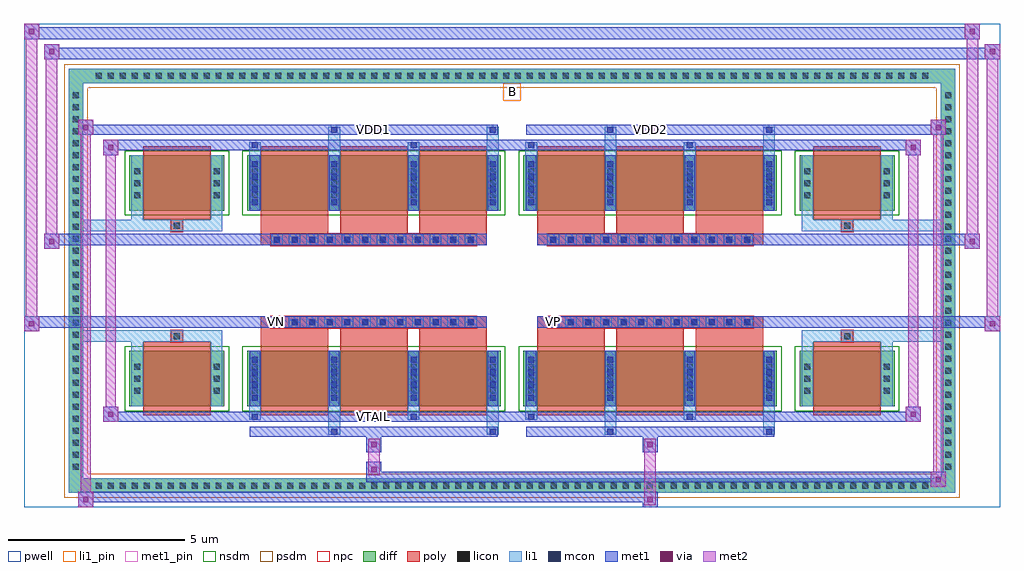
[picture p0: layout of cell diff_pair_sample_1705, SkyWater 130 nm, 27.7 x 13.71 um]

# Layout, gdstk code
import gdstk
lib = gdstk.Library(unit=1e-6, precision=5e-09)
def R(c, l, rs):  # rectangles x0, y0, x1, y1
    for r in rs: c.add(gdstk.rectangle(r[:2], r[2:], *l))
def A(c, l, x, y, w, h, nx, ny, dx, dy):  # array of equal rectangles
    R(c, l, [(x+i*dx, y+j*dy, x+i*dx+w, y+j*dy+h) for i in range(nx) for j in range(ny)])
def P(c, l, *ps):  # polygons
    for p in ps: c.add(gdstk.Polygon(p, *l))
pwell = (64, 44)
diff = (65, 20)
poly = (66, 20)
licon = (66, 44)
li1_pin = (67, 16)
li1 = (67, 20)
mcon = (67, 44)
met1_pin = (68, 16)
met1 = (68, 20)
via = (68, 44)
met2 = (69, 20)
nsdm = (93, 44)
psdm = (94, 20)
npc = (95, 20)

diff_pair_sample_1705 = lib.new_cell('diff_pair_sample_1705')
R(diff_pair_sample_1705, pwell, [(-13.85,-6.42,13.85,7.29), (-11.17,-4.61,-0.01,-0.805), (0.01,-4.61,11.17,-0.805), (-11.17,0.805,-0.01,4.61), (0.01,0.805,11.17,4.61)])
A(diff_pair_sample_1705, diff, -11.935, -6.02, 0.41, 0.41, 70, 2, 0.34, 11.63)
A(diff_pair_sample_1705, diff, -12.58, -5.475, 0.41, 0.41, 1, 32, 0, 0.34)
A(diff_pair_sample_1705, diff, 12.17, -5.475, 0.41, 0.41, 1, 32, 0, 0.34)
R(diff_pair_sample_1705, diff, [(-11.935,-6.02,11.935,-5.61), (-12.58,-5.475,-12.17,5.475), (12.17,-5.475,12.58,5.475), (-10.86,-3.565,-8.16,-1.985), (-7.52,-3.565,-0.32,-1.985), (0.32,-3.565,7.52,-1.985), (8.16,-3.565,10.86,-1.985), (-10.86,1.985,-8.16,3.565), (-7.52,1.985,-0.32,3.565), (0.32,1.985,7.52,3.565), (8.16,1.985,10.86,3.565), (-11.935,5.61,11.935,6.02)])
P(diff_pair_sample_1705, diff, [(12.58,6.02),(-12.58,6.02),(-12.58,-5.61),(-12.17,-5.61),(-12.17,5.61),(12.17,5.61),(12.17,-5.61),(-12.17,-5.61),(-12.58,-5.61),(-12.58,-6.02),(12.58,-6.02)])
A(diff_pair_sample_1705, poly, -7.13, -3.815, 1.92, 2.08, 3, 2, 2.25, 5.55)
A(diff_pair_sample_1705, poly, 0.71, -3.815, 1.92, 2.08, 3, 2, 2.25, 5.55)
A(diff_pair_sample_1705, poly, -7.13, -1.735, 1.92, 0.4, 3, 2, 2.25, 3.07)
A(diff_pair_sample_1705, poly, 0.71, -1.735, 1.92, 0.4, 3, 2, 2.25, 3.07)
A(diff_pair_sample_1705, poly, -6.835, -1.335, 0.33, 0.33, 12, 2, 0.5, 2.34)
A(diff_pair_sample_1705, poly, 1.005, -1.335, 0.33, 0.33, 12, 2, 0.5, 2.34)
R(diff_pair_sample_1705, poly, [(-10.47,-3.815,-8.55,-1.735), (8.55,-3.815,10.47,-1.735), (-9.675,-1.735,-9.345,-1.405), (-9.675,-1.735,-9.345,-1.405), (9.345,-1.735,9.675,-1.405), (9.345,-1.735,9.675,-1.405), (-7.13,-1.335,-0.71,-1.005), (0.71,-1.335,7.13,-1.005), (-7.13,1.005,-0.71,1.335), (0.71,1.005,7.13,1.335), (-9.675,1.405,-9.345,1.735), (-9.675,1.405,-9.345,1.735), (9.345,1.405,9.675,1.735), (9.345,1.405,9.675,1.735), (-10.47,1.735,-8.55,3.815), (8.55,1.735,10.47,3.815)])
A(diff_pair_sample_1705, licon, -11.815, -5.9, 0.17, 0.17, 70, 2, 0.34, 11.63)
A(diff_pair_sample_1705, licon, -12.46, -5.355, 0.17, 0.17, 1, 32, 0, 0.34)
A(diff_pair_sample_1705, licon, 12.29, -5.355, 0.17, 0.17, 1, 32, 0, 0.34)
A(diff_pair_sample_1705, licon, -10.72, -3.2, 0.17, 0.17, 1, 3, 0, 0.34)
A(diff_pair_sample_1705, licon, -8.47, -3.2, 0.17, 0.17, 1, 3, 0, 0.34)
A(diff_pair_sample_1705, licon, -7.38, -3.2, 0.17, 0.17, 4, 3, 2.25, 0.34)
A(diff_pair_sample_1705, licon, 0.46, -3.2, 0.17, 0.17, 4, 3, 2.25, 0.34)
A(diff_pair_sample_1705, licon, 8.3, -3.2, 0.17, 0.17, 1, 3, 0, 0.34)
A(diff_pair_sample_1705, licon, 10.55, -3.2, 0.17, 0.17, 1, 3, 0, 0.34)
A(diff_pair_sample_1705, licon, -6.755, -1.255, 0.17, 0.17, 12, 2, 0.5, 2.34)
A(diff_pair_sample_1705, licon, 1.085, -1.255, 0.17, 0.17, 12, 2, 0.5, 2.34)
A(diff_pair_sample_1705, licon, -10.72, 2.35, 0.17, 0.17, 1, 3, 0, 0.34)
A(diff_pair_sample_1705, licon, -8.47, 2.35, 0.17, 0.17, 1, 3, 0, 0.34)
A(diff_pair_sample_1705, licon, -7.38, 2.35, 0.17, 0.17, 4, 3, 2.25, 0.34)
A(diff_pair_sample_1705, licon, 0.46, 2.35, 0.17, 0.17, 4, 3, 2.25, 0.34)
A(diff_pair_sample_1705, licon, 8.3, 2.35, 0.17, 0.17, 1, 3, 0, 0.34)
A(diff_pair_sample_1705, licon, 10.55, 2.35, 0.17, 0.17, 1, 3, 0, 0.34)
R(diff_pair_sample_1705, licon, [(-9.595,-1.655,-9.425,-1.485), (9.425,-1.655,9.595,-1.485), (-9.595,1.485,-9.425,1.655), (9.425,1.485,9.595,1.655)])
R(diff_pair_sample_1705, li1_pin, [(-0.25,5.11,0.25,5.61)])
A(diff_pair_sample_1705, li1, -11.895, -5.98, 0.33, 0.33, 70, 2, 0.34, 11.63)
A(diff_pair_sample_1705, li1, -12.54, -5.435, 0.33, 0.33, 1, 32, 0, 0.34)
A(diff_pair_sample_1705, li1, 12.21, -5.435, 0.33, 0.33, 1, 32, 0, 0.34)
A(diff_pair_sample_1705, li1, -7.46, -3.565, 0.33, 1.58, 4, 2, 2.25, 5.55)
A(diff_pair_sample_1705, li1, 0.38, -3.565, 0.33, 1.58, 4, 2, 2.25, 5.55)
A(diff_pair_sample_1705, li1, -7.38, -3.4, 0.17, 0.17, 4, 4, 2.25, 0.36)
A(diff_pair_sample_1705, li1, -7.38, -3.4, 0.17, 1.25, 4, 2, 2.25, 5.55)
A(diff_pair_sample_1705, li1, 0.46, -3.4, 0.17, 0.17, 4, 4, 2.25, 0.36)
A(diff_pair_sample_1705, li1, 0.46, -3.4, 0.17, 1.25, 4, 2, 2.25, 5.55)
A(diff_pair_sample_1705, li1, -10.8, -3.28, 0.33, 0.33, 1, 3, 0, 0.34)
A(diff_pair_sample_1705, li1, -8.55, -3.28, 0.33, 0.33, 1, 3, 0, 0.34)
A(diff_pair_sample_1705, li1, -7.46, -3.28, 0.33, 0.33, 4, 3, 2.25, 0.34)
A(diff_pair_sample_1705, li1, 0.38, -3.28, 0.33, 0.33, 4, 3, 2.25, 0.34)
A(diff_pair_sample_1705, li1, 8.22, -3.28, 0.33, 0.33, 1, 3, 0, 0.34)
A(diff_pair_sample_1705, li1, 10.47, -3.28, 0.33, 0.33, 1, 3, 0, 0.34)
A(diff_pair_sample_1705, li1, -6.835, -1.335, 0.33, 0.33, 12, 2, 0.5, 2.34)
A(diff_pair_sample_1705, li1, 1.005, -1.335, 0.33, 0.33, 12, 2, 0.5, 2.34)
A(diff_pair_sample_1705, li1, -7.38, 2.15, 0.17, 0.17, 4, 4, 2.25, 0.36)
A(diff_pair_sample_1705, li1, 0.46, 2.15, 0.17, 0.17, 4, 4, 2.25, 0.36)
A(diff_pair_sample_1705, li1, -10.8, 2.27, 0.33, 0.33, 1, 3, 0, 0.34)
A(diff_pair_sample_1705, li1, -8.55, 2.27, 0.33, 0.33, 1, 3, 0, 0.34)
A(diff_pair_sample_1705, li1, -7.46, 2.27, 0.33, 0.33, 4, 3, 2.25, 0.34)
A(diff_pair_sample_1705, li1, 0.38, 2.27, 0.33, 0.33, 4, 3, 2.25, 0.34)
A(diff_pair_sample_1705, li1, 8.22, 2.27, 0.33, 0.33, 1, 3, 0, 0.34)
A(diff_pair_sample_1705, li1, 10.47, 2.27, 0.33, 0.33, 1, 3, 0, 0.34)
R(diff_pair_sample_1705, li1, [(-12.58,-6.02,-12.17,-5.61), (-12.58,-6.02,-12.17,-5.61), (-12.17,-6.02,12.17,-5.61), (12.17,-6.02,12.58,-5.61), (12.17,-6.02,12.58,-5.61), (-12.58,-5.61,-12.17,5.61), (12.17,-5.61,12.58,5.61), (-5.21,-4.37,-4.88,-3.565), (-5.13,-4.37,-4.96,-4.2), (-0.71,-4.37,-0.38,-3.565), (-0.63,-4.37,-0.46,-4.2), (2.63,-4.37,2.96,-3.565), (2.71,-4.37,2.88,-4.2), (7.13,-4.37,7.46,-3.565), (7.21,-4.37,7.38,-4.2), (-7.46,-3.94,-7.13,-3.565), (-7.38,-3.94,-7.21,-3.77), (-2.96,-3.94,-2.63,-3.565), (-2.88,-3.94,-2.71,-3.77), (0.38,-3.94,0.71,-3.565), (0.46,-3.94,0.63,-3.77), (4.88,-3.94,5.21,-3.565), (4.96,-3.94,5.13,-3.77), (-10.8,-3.565,-10.47,-1.985), (-8.55,-3.565,-8.22,-1.985), (8.22,-3.565,8.55,-1.985), (10.47,-3.565,10.8,-1.985), (-10.8,-1.985,-10.47,-1.405), (-8.55,-1.985,-8.22,-1.405), (8.22,-1.985,8.55,-1.405), (10.47,-1.985,10.8,-1.405), (-12.58,-1.735,-9.675,-1.405), (-10.8,-1.735,-9.675,-1.405), (-9.675,-1.735,-9.345,-1.405), (-9.345,-1.735,-8.22,-1.405), (8.22,-1.735,9.345,-1.405), (9.345,-1.735,9.675,-1.405), (9.345,-1.735,12.58,-1.405), (9.675,-1.735,10.8,-1.405), (-12.58,1.405,-9.675,1.735), (-10.8,1.405,-9.675,1.735), (-10.8,1.405,-10.47,1.985), (-9.675,1.405,-9.345,1.735), (-9.345,1.405,-8.22,1.735), (-8.55,1.405,-8.22,1.985), (8.22,1.405,9.345,1.735), (8.22,1.405,8.55,1.985), (9.345,1.405,9.675,1.735), (9.345,1.405,12.58,1.735), (9.675,1.405,10.8,1.735), (10.47,1.405,10.8,1.985), (-10.8,1.985,-10.47,3.565), (-8.55,1.985,-8.22,3.565), (8.22,1.985,8.55,3.565), (10.47,1.985,10.8,3.565), (-7.46,3.565,-7.13,3.94), (-5.21,3.565,-4.88,4.37), (-2.96,3.565,-2.63,3.94), (-0.71,3.565,-0.38,4.37), (0.38,3.565,0.71,3.94), (2.63,3.565,2.96,4.37), (4.88,3.565,5.21,3.94), (7.13,3.565,7.46,4.37), (-7.38,3.77,-7.21,3.94), (-2.88,3.77,-2.71,3.94), (0.46,3.77,0.63,3.94), (4.96,3.77,5.13,3.94), (-5.13,4.2,-4.96,4.37), (-0.63,4.2,-0.46,4.37), (2.71,4.2,2.88,4.37), (7.21,4.2,7.38,4.37), (-12.58,5.61,-12.17,6.02), (-12.58,5.61,-12.17,6.02), (-12.17,5.61,12.17,6.02), (12.17,5.61,12.58,6.02), (12.17,5.61,12.58,6.02)])
A(diff_pair_sample_1705, mcon, -7.38, -3.4, 0.17, 0.17, 4, 4, 2.25, 0.36)
A(diff_pair_sample_1705, mcon, 0.46, -3.4, 0.17, 0.17, 4, 4, 2.25, 0.36)
A(diff_pair_sample_1705, mcon, -6.755, -1.255, 0.17, 0.17, 12, 2, 0.5, 2.34)
A(diff_pair_sample_1705, mcon, 1.085, -1.255, 0.17, 0.17, 12, 2, 0.5, 2.34)
A(diff_pair_sample_1705, mcon, -7.38, 2.15, 0.17, 0.17, 4, 4, 2.25, 0.36)
A(diff_pair_sample_1705, mcon, 0.46, 2.15, 0.17, 0.17, 4, 4, 2.25, 0.36)
R(diff_pair_sample_1705, mcon, [(-5.13,-4.37,-4.96,-4.2), (-0.63,-4.37,-0.46,-4.2), (2.71,-4.37,2.88,-4.2), (7.21,-4.37,7.38,-4.2), (-7.38,-3.94,-7.21,-3.77), (-2.88,-3.94,-2.71,-3.77), (0.46,-3.94,0.63,-3.77), (4.96,-3.94,5.13,-3.77), (-7.38,3.77,-7.21,3.94), (-2.88,3.77,-2.71,3.94), (0.46,3.77,0.63,3.94), (4.96,3.77,5.13,3.94), (-5.13,4.2,-4.96,4.37), (-0.63,4.2,-0.46,4.37), (2.71,4.2,2.88,4.37), (7.21,4.2,7.38,4.37)])
R(diff_pair_sample_1705, met1_pin, [(-4.055,-3.98,-3.785,-3.71), (-6.805,-1.295,-6.535,-1.025), (1.035,-1.295,1.305,-1.025), (-4.055,4.16,-3.785,4.43), (3.785,4.16,4.055,4.43)])
A(diff_pair_sample_1705, met1, -7.44, -3.565, 0.29, 1.58, 4, 2, 2.25, 5.55)
A(diff_pair_sample_1705, met1, 0.4, -3.565, 0.29, 1.58, 4, 2, 2.25, 5.55)
A(diff_pair_sample_1705, met1, -7.44, -3.46, 0.29, 0.29, 4, 4, 2.25, 0.36)
A(diff_pair_sample_1705, met1, 0.4, -3.46, 0.29, 0.29, 4, 4, 2.25, 0.36)
A(diff_pair_sample_1705, met1, -6.815, -1.315, 0.29, 0.29, 12, 2, 0.5, 2.34)
A(diff_pair_sample_1705, met1, 1.025, -1.315, 0.29, 0.29, 12, 2, 0.5, 2.34)
A(diff_pair_sample_1705, met1, -7.44, 2.09, 0.29, 0.29, 4, 4, 2.25, 0.36)
A(diff_pair_sample_1705, met1, 0.4, 2.09, 0.29, 0.29, 4, 4, 2.25, 0.36)
R(diff_pair_sample_1705, met1, [(-12.31,-6.42,-11.88,-5.99), (3.705,-6.42,4.135,-5.99), (-12.31,-6.28,4.135,-5.99), (11.88,-5.85,12.31,-5.42), (-4.135,-5.71,12.31,-5.42), (-4.135,-5.57,-3.705,-5.14), (-4.135,-4.86,-3.705,-4.43), (3.705,-4.86,4.135,-4.43), (-7.44,-4.43,-0.4,-4.14), (-5.19,-4.43,-4.9,-4.14), (-0.69,-4.43,-0.4,-4.14), (0.4,-4.43,7.44,-4.14), (2.65,-4.43,2.94,-4.14), (7.15,-4.43,7.44,-4.14), (-11.6,-4,-11.17,-3.57), (-11.6,-4,-7.44,-3.71), (-7.44,-4,-7.15,-3.71), (-7.44,-4,-0.4,-3.71), (-2.94,-4,-2.65,-3.71), (-0.4,-4,0.4,-3.71), (0.4,-4,0.69,-3.71), (0.4,-4,7.44,-3.71), (4.9,-4,5.19,-3.71), (7.44,-4,11.6,-3.71), (11.17,-4,11.6,-3.57), (-13.85,-1.435,-13.42,-1.005), (13.42,-1.435,13.85,-1.005), (-13.85,-1.335,-0.71,-1.005), (-7.13,-1.335,-0.71,-1.005), (0.71,-1.335,7.13,-1.005), (0.71,-1.335,13.85,-1.005), (-13.28,0.905,-12.85,1.335), (12.85,0.905,13.28,1.335), (-13.28,1.005,-7.13,1.335), (-7.13,1.005,-0.71,1.335), (0.71,1.005,7.13,1.335), (7.13,1.005,13.28,1.335), (-11.6,3.57,-11.17,4), (11.17,3.57,11.6,4), (-11.6,3.71,-7.44,4), (-7.44,3.71,-7.15,4), (-7.44,3.71,-0.4,4), (-2.94,3.71,-2.65,4), (-0.4,3.71,0.4,4), (0.4,3.71,0.69,4), (0.4,3.71,7.44,4), (4.9,3.71,5.19,4), (7.44,3.71,11.6,4), (-12.31,4.14,-11.88,4.57), (-12.31,4.14,-7.44,4.43), (-7.44,4.14,-0.4,4.43), (-5.19,4.14,-4.9,4.43), (-0.69,4.14,-0.4,4.43), (0.4,4.14,7.44,4.43), (2.65,4.14,2.94,4.43), (7.15,4.14,7.44,4.43), (7.44,4.14,12.31,4.43), (11.88,4.14,12.31,4.57), (-13.28,6.29,-12.85,6.72), (-13.28,6.29,-11.17,6.62), (-11.17,6.29,11.17,6.62), (11.17,6.29,13.85,6.62), (13.42,6.29,13.85,6.72), (-13.85,6.86,-13.42,7.29), (-13.85,6.86,-11.17,7.19), (-11.17,6.86,11.17,7.19), (11.17,6.86,13.28,7.19), (12.85,6.86,13.28,7.29)])
R(diff_pair_sample_1705, via, [(-12.17,-6.28,-12.02,-6.13), (3.845,-6.28,3.995,-6.13), (12.02,-5.71,12.17,-5.56), (-3.995,-5.43,-3.845,-5.28), (-3.995,-4.72,-3.845,-4.57), (3.845,-4.72,3.995,-4.57), (-11.46,-3.86,-11.31,-3.71), (11.31,-3.86,11.46,-3.71), (-13.71,-1.295,-13.56,-1.145), (13.56,-1.295,13.71,-1.145), (-13.14,1.045,-12.99,1.195), (12.99,1.045,13.14,1.195), (-11.46,3.71,-11.31,3.86), (11.31,3.71,11.46,3.86), (-12.17,4.28,-12.02,4.43), (12.02,4.28,12.17,4.43), (-13.14,6.43,-12.99,6.58), (13.56,6.43,13.71,6.58), (-13.71,7,-13.56,7.15), (12.99,7,13.14,7.15)])
R(diff_pair_sample_1705, met2, [(-12.31,-6.42,-11.88,-5.99), (-12.24,-6.42,-11.95,4.57), (-11.95,-6.42,-11.88,-5.99), (-12.26,-6.37,-11.93,-6.04), (3.755,-6.37,4.085,-6.04), (3.755,-6.04,4.085,-4.81), (11.88,-5.85,12.31,-5.42), (11.95,-5.85,12.24,4.57), (12.24,-5.85,12.31,-5.42), (11.93,-5.8,12.26,-5.47), (-4.085,-5.52,-3.755,-5.19), (-4.085,-5.19,-3.755,-4.81), (-4.085,-4.81,-3.755,-4.48), (3.755,-4.81,4.085,-4.48), (-11.6,-4,-11.17,-3.57), (-11.53,-4,-11.24,4), (-11.24,-4,-11.17,-3.57), (11.17,-4,11.6,-3.57), (11.24,-4,11.53,4), (11.53,-4,11.6,-3.57), (-11.55,-3.95,-11.22,-3.62), (11.22,-3.95,11.55,-3.62), (-13.85,-1.435,-13.42,-1.005), (-13.8,-1.435,-13.47,7.29), (-13.47,-1.435,-13.42,-1.005), (13.42,-1.435,13.85,-1.005), (13.47,-1.435,13.8,6.72), (13.8,-1.435,13.85,-1.005), (-13.8,-1.385,-13.47,-1.055), (13.47,-1.385,13.8,-1.055), (-13.28,0.905,-12.85,1.335), (-13.23,0.905,-12.9,6.72), (-12.9,0.905,-12.85,1.335), (12.85,0.905,13.28,1.335), (12.9,0.905,13.23,7.29), (13.23,0.905,13.28,1.335), (-13.23,0.955,-12.9,1.285), (12.9,0.955,13.23,1.285), (-11.6,3.57,-11.17,4), (-11.24,3.57,-11.17,4), (11.17,3.57,11.6,4), (11.53,3.57,11.6,4), (-11.55,3.62,-11.22,3.95), (11.22,3.62,11.55,3.95), (-12.31,4.14,-11.88,4.57), (-11.95,4.14,-11.88,4.57), (11.88,4.14,12.31,4.57), (12.24,4.14,12.31,4.57), (-12.26,4.19,-11.93,4.52), (11.93,4.19,12.26,4.52), (-13.28,6.29,-12.85,6.72), (-12.9,6.29,-12.85,6.72), (13.42,6.29,13.85,6.72), (13.8,6.29,13.85,6.72), (-13.23,6.34,-12.9,6.67), (13.47,6.34,13.8,6.67), (-13.85,6.86,-13.42,7.29), (-13.47,6.86,-13.42,7.29), (12.85,6.86,13.28,7.29), (13.23,6.86,13.28,7.29), (-13.8,6.91,-13.47,7.24), (12.9,6.91,13.23,7.24)])
R(diff_pair_sample_1705, nsdm, [(-10.99,-3.695,-8.03,-1.855), (-7.65,-3.695,-0.19,-1.855), (0.19,-3.695,7.65,-1.855), (8.03,-3.695,10.99,-1.855), (-10.99,1.855,-8.03,3.695), (-7.65,1.855,-0.19,3.695), (0.19,1.855,7.65,3.695), (8.03,1.855,10.99,3.695)])
P(diff_pair_sample_1705, psdm, [(12.71,6.15),(-12.71,6.15),(-12.71,-5.48),(-12.04,-5.48),(-12.04,5.48),(12.04,5.48),(12.04,-5.48),(-12.04,-5.48),(-12.71,-5.48),(-12.71,-6.15),(12.71,-6.15)])
A(diff_pair_sample_1705, npc, -6.855, -1.355, 0.37, 0.37, 12, 2, 0.5, 2.34)
A(diff_pair_sample_1705, npc, 0.985, -1.355, 0.37, 0.37, 12, 2, 0.5, 2.34)
R(diff_pair_sample_1705, npc, [(-9.695,-1.755,-9.325,-1.385), (9.325,-1.755,9.695,-1.385), (-6.855,-1.355,-5.985,-0.985), (-6.855,-1.355,-5.985,-0.985), (-6.355,-1.355,-5.485,-0.985), (-6.355,-1.355,-5.485,-0.985), (-5.855,-1.355,-4.985,-0.985), (-5.855,-1.355,-4.985,-0.985), (-5.355,-1.355,-4.485,-0.985), (-5.355,-1.355,-4.485,-0.985), (-4.855,-1.355,-3.985,-0.985), (-4.855,-1.355,-3.985,-0.985), (-4.355,-1.355,-3.485,-0.985), (-4.355,-1.355,-3.485,-0.985), (-3.855,-1.355,-2.985,-0.985), (-3.855,-1.355,-2.985,-0.985), (-3.355,-1.355,-2.485,-0.985), (-3.355,-1.355,-2.485,-0.985), (-2.855,-1.355,-1.985,-0.985), (-2.855,-1.355,-1.985,-0.985), (-2.355,-1.355,-1.485,-0.985), (-2.355,-1.355,-1.485,-0.985), (-1.855,-1.355,-0.985,-0.985), (-1.855,-1.355,-0.985,-0.985), (0.985,-1.355,1.855,-0.985), (0.985,-1.355,1.855,-0.985), (1.485,-1.355,2.355,-0.985), (1.485,-1.355,2.355,-0.985), (1.985,-1.355,2.855,-0.985), (1.985,-1.355,2.855,-0.985), (2.485,-1.355,3.355,-0.985), (2.485,-1.355,3.355,-0.985), (2.985,-1.355,3.855,-0.985), (2.985,-1.355,3.855,-0.985), (3.485,-1.355,4.355,-0.985), (3.485,-1.355,4.355,-0.985), (3.985,-1.355,4.855,-0.985), (3.985,-1.355,4.855,-0.985), (4.485,-1.355,5.355,-0.985), (4.485,-1.355,5.355,-0.985), (4.985,-1.355,5.855,-0.985), (4.985,-1.355,5.855,-0.985), (5.485,-1.355,6.355,-0.985), (5.485,-1.355,6.355,-0.985), (5.985,-1.355,6.855,-0.985), (5.985,-1.355,6.855,-0.985), (-6.855,0.985,-5.985,1.355), (-6.855,0.985,-5.985,1.355), (-6.355,0.985,-5.485,1.355), (-6.355,0.985,-5.485,1.355), (-5.855,0.985,-4.985,1.355), (-5.855,0.985,-4.985,1.355), (-5.355,0.985,-4.485,1.355), (-5.355,0.985,-4.485,1.355), (-4.855,0.985,-3.985,1.355), (-4.855,0.985,-3.985,1.355), (-4.355,0.985,-3.485,1.355), (-4.355,0.985,-3.485,1.355), (-3.855,0.985,-2.985,1.355), (-3.855,0.985,-2.985,1.355), (-3.355,0.985,-2.485,1.355), (-3.355,0.985,-2.485,1.355), (-2.855,0.985,-1.985,1.355), (-2.855,0.985,-1.985,1.355), (-2.355,0.985,-1.485,1.355), (-2.355,0.985,-1.485,1.355), (-1.855,0.985,-0.985,1.355), (-1.855,0.985,-0.985,1.355), (0.985,0.985,1.855,1.355), (0.985,0.985,1.855,1.355), (1.485,0.985,2.355,1.355), (1.485,0.985,2.355,1.355), (1.985,0.985,2.855,1.355), (1.985,0.985,2.855,1.355), (2.485,0.985,3.355,1.355), (2.485,0.985,3.355,1.355), (2.985,0.985,3.855,1.355), (2.985,0.985,3.855,1.355), (3.485,0.985,4.355,1.355), (3.485,0.985,4.355,1.355), (3.985,0.985,4.855,1.355), (3.985,0.985,4.855,1.355), (4.485,0.985,5.355,1.355), (4.485,0.985,5.355,1.355), (4.985,0.985,5.855,1.355), (4.985,0.985,5.855,1.355), (5.485,0.985,6.355,1.355), (5.485,0.985,6.355,1.355), (5.985,0.985,6.855,1.355), (5.985,0.985,6.855,1.355), (-9.695,1.385,-9.325,1.755), (9.325,1.385,9.695,1.755)])
diff_pair_sample_1705.add(gdstk.Label('VTAIL', (-3.92,-3.845), layer=68, texttype=5))
diff_pair_sample_1705.add(gdstk.Label('VN', (-6.67,-1.16), layer=68, texttype=5))
diff_pair_sample_1705.add(gdstk.Label('VP', (1.17,-1.16), layer=68, texttype=5))
diff_pair_sample_1705.add(gdstk.Label('B', (0,5.36), layer=67, texttype=5))
diff_pair_sample_1705.add(gdstk.Label('VDD2', (3.92,4.295), layer=68, texttype=5))
diff_pair_sample_1705.add(gdstk.Label('VDD1', (-3.92,4.295), layer=68, texttype=5))

lib.write_gds('diff_pair_sample_1705.gds')
